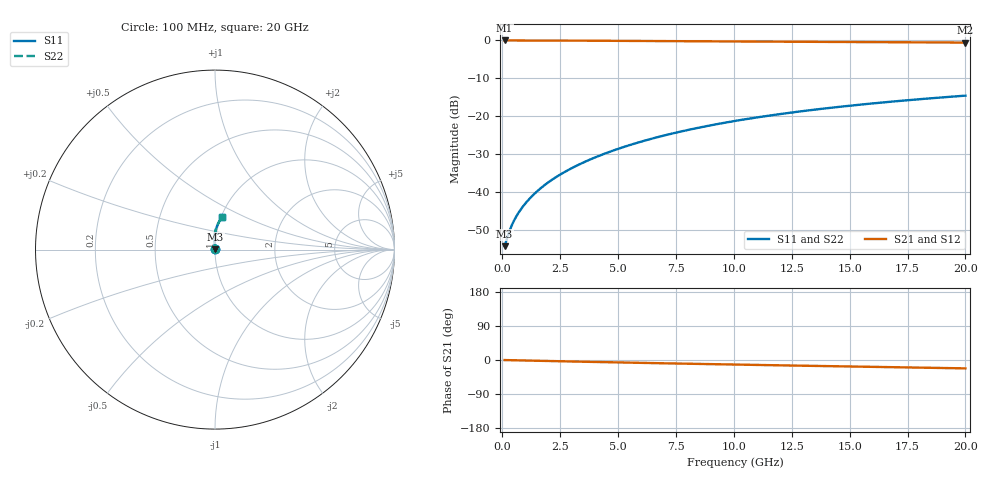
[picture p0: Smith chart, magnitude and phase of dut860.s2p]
! Touchstone file exported from HFSS 2024.1.0
!  File:  C:/UserFiles/LocalFiles/RDL_TSV_Batchsim/temp_RDL_bottom_860_1779864521.aedt
!  Generated:  02:51:15 PM May 27, 2026
!  Design:  RDL_bottom
!  Project:  temp_RDL_bottom_860_1779864521
!  Setup:  Setup1
!  Solution:  Sweep
! Variables:
!  dtsv = 10.80580581um
!  hbump = 3um
!  htsv = 77.28um
!  ldown = 317.26um
!  lrdl = 100um
!  p = 40
!  p1 = 47.56um
!  rhole = 1um
!  t = 450um
!  tdown = 2.75um
!  trdl = 3.915915916um
!  wdown = 28.99um
!  wrdl = 20um
# GHz S MA R 50.000000
! Terminal data exported
! Port[1] = RDL1_T1
! Port[2] = RDL1_T2
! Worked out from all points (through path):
!   200 points, 100 MHz to 20 GHz, reference 50 ohm
!   highest |S21| = -0.02 dB at 100 MHz (marker M1); lowest = -0.6 dB at 20 GHz (marker M2)
!   group delay of S21, straight-line fit = 3.02 ps
!   lowest |S11| = -54.3 dB at 100 MHz (marker M3), VSWR 1.00, Z = 50.2 + j0.0813 ohm
!   |S11| at or under -10 dB: start of sweep to end of sweep
!   |S22| runs from -54.3 to -14.6 dB; largest |S21 - S12| = 4.4e-15
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0.1  0.001924 24.9  0.9982 -0.1  0.9982 -0.1  0.001924 24.9
! Gamma 0 0 0 0
! Port Impedance 50 0 50 0
0.3  0.002992 49.8  0.998 -0.4  0.998 -0.4  0.002992 49.8
0.4  0.003575 55.7  0.9979 -0.6  0.9979 -0.6  0.003575 55.7
0.5  0.004151 60.1  0.9977 -0.7  0.9977 -0.7  0.004151 60.1
0.6  0.004725 63.6  0.9976 -0.8  0.9976 -0.8  0.004725 63.6
0.8  0.005881 69.0  0.9974 -1.1  0.9974 -1.1  0.005881 69.0
1  0.007067 73.1  0.9971 -1.3  0.9971 -1.3  0.007067 73.1
1.2  0.008285 76.3  0.9969 -1.6  0.9969 -1.6  0.008285 76.3
1.7  0.01147 81.9  0.9961 -2.3  0.9961 -2.3  0.01147 81.9
2.2  0.01484 85.6  0.9951 -2.9  0.9951 -2.9  0.01484 85.6
2.8  0.01913 88.6  0.9937 -3.7  0.9937 -3.7  0.01913 88.6
3.5  0.02446 91.0  0.9917 -4.6  0.9917 -4.6  0.02446 91.0
4.2  0.03014 92.5  0.9895 -5.4  0.9895 -5.4  0.03014 92.5
5  0.03703 93.4  0.9867 -6.4  0.9867 -6.4  0.03703 93.4
5.9  0.04521 93.8  0.9834 -7.5  0.9834 -7.5  0.04521 93.8
6.8  0.05377 93.6  0.9801 -8.5  0.9801 -8.5  0.05377 93.6
8.4  0.06964 92.5  0.9741 -10.3  0.9741 -10.3  0.06963 92.5
10.1  0.08701 90.7  0.9679 -12.1  0.9679 -12.1  0.087 90.7
11.7  0.1035 88.7  0.9623 -13.8  0.9623 -13.8  0.1035 88.7
13.4  0.121 86.4  0.9567 -15.5  0.9567 -15.5  0.121 86.4
16.7  0.1544 82.0  0.9462 -18.8  0.9462 -18.8  0.1544 82.0
20  0.1866 77.7  0.9362 -22.1  0.9362 -22.1  0.1866 77.7
